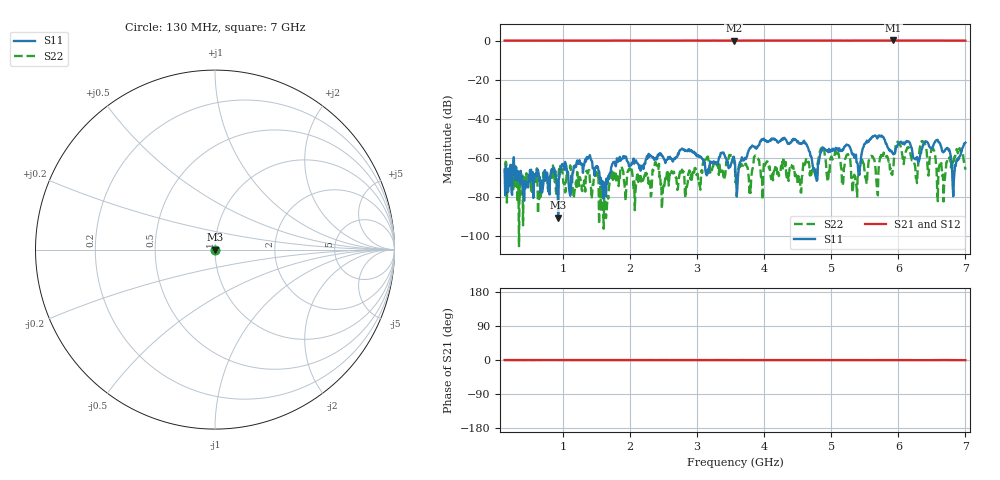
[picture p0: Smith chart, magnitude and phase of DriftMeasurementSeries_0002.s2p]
# Hz S RI R 50.000000
! Metas.Vna.Tools, 2.8.8664.20301
! Metas.Vna.Data, 2.8.8664.20285
! Created: UTC 2024.02.11 10:08:07
! FREQ  re:S1,1  im:S1,1  re:S2,1  im:S2,1  re:S1,2  im:S1,2  re:S2,2  im:S2,2
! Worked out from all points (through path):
!   801 points, 130 MHz to 7 GHz, reference 50 ohm
!   highest |S21| = 0.05 dB at 5.927 GHz (marker M1); lowest = -0.1 dB at 3.548 GHz (marker M2)
!   lowest |S11| = -90.7 dB at 928.6 MHz (marker M3), VSWR 1.00, Z = 50 + j0.00276 ohm
!   |S11| at or under -10 dB: start of sweep to end of sweep
!   |S22| runs from -105.3 to -51.5 dB; largest |S21 - S12| = 0.0096
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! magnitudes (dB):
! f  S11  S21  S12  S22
! 130 MHz  -66.1  0.0  0.0  -64.0
! 928.6 MHz  -90.7  0.0  0.0  -70.8
! 1.281 GHz  -63.1  0.0  0.0  -76.9
! 1.607 GHz  -81.2  0.0  0.0  -96.4
! 1.839 GHz  -61.4  0.0  0.0  -69.5
! 2.423 GHz  -58.9  0.0  0.0  -65.9
! 3.548 GHz  -59.5  -0.1  0.0  -61.3
! 3.565 GHz  -62.8  0.0  0.0  -66.0
! 3.994 GHz  -50.2  0.0  0.0  -63.3
! 4.716 GHz  -62.1  0.0  0.0  -66.2
! 4.862 GHz  -56.3  0.0  0.0  -56.3
! 4.948 GHz  -56.9  0.0  0.0  -72.3
! 5.248 GHz  -53.5  0.0  0.0  -58.1
! 5.351 GHz  -58.8  0.0  0.0  -69.3
! 5.858 GHz  -55.8  0.0  0.0  -62.1
! 5.927 GHz  -58.3  0.0  0.0  -64.9
! 5.995 GHz  -53.3  0.0  0.0  -51.8
! 6.27 GHz  -60.0  0.0  0.0  -70.6
! 6.373 GHz  -53.1  0.0  0.0  -51.8
! 6.588 GHz  -50.9  0.0  0.0  -82.3
! 6.828 GHz  -71.5  0.0  0.0  -61.5
! 7 GHz  -52.3  -0.1  0.0  -66.2
